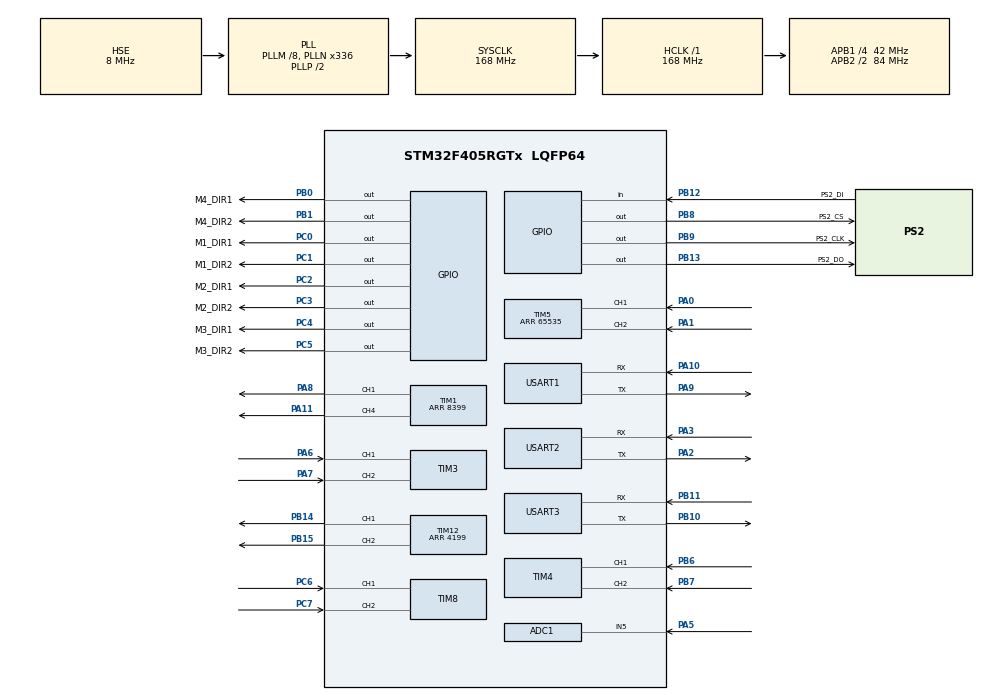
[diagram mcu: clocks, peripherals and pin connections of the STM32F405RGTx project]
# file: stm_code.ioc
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ADC1.Channel-0\#ChannelRegularConversion=ADC_CHANNEL_5
ADC1.NbrOfConversionFlag=1
ADC1.Rank-0\#ChannelRegularConversion=1
ADC1.SamplingTime-0\#ChannelRegularConversion=ADC_SAMPLETIME_144CYCLES
ADC1.master=1
Mcu.Family=STM32F4
Mcu.Name=STM32F405RGTx
Mcu.Package=LQFP64
NVIC.PriorityGroup=NVIC_PRIORITYGROUP_4
NVIC.USART1_IRQn=true\:3\:0\:true\:false\:true\:true\:true\:true
NVIC.USART2_IRQn=true\:2\:0\:true\:false\:true\:true\:true\:true
NVIC.USART3_IRQn=true\:3\:0\:true\:false\:true\:true\:true\:true
PA0-WKUP.Signal=S_TIM5_CH1
PA1.Signal=S_TIM5_CH2
PA10.Mode=Asynchronous
PA10.Signal=USART1_RX
PA11.Signal=S_TIM1_CH4
PA13.Mode=Serial_Wire
PA13.Signal=SYS_JTMS-SWDIO
PA14.Mode=Serial_Wire
PA14.Signal=SYS_JTCK-SWCLK
PA2.Mode=Asynchronous
PA2.Signal=USART2_TX
PA3.Mode=Asynchronous
PA3.Signal=USART2_RX
PA5.Signal=ADCx_IN5
PA6.Signal=S_TIM3_CH1
PA7.Signal=S_TIM3_CH2
PA8.Signal=S_TIM1_CH1
PA9.Mode=Asynchronous
PA9.Signal=USART1_TX
PB0.GPIO_Label=M4_DIR1
PB0.Signal=GPIO_Output
PB1.GPIO_Label=M4_DIR2
PB1.Signal=GPIO_Output
PB10.Mode=Asynchronous
PB10.Signal=USART3_TX
PB11.Mode=Asynchronous
PB11.Signal=USART3_RX
PB12.GPIO_Label=PS2_DI
PB12.GPIO_PuPd=GPIO_NOPULL
PB12.Signal=GPIO_Input
PB13.GPIO_Label=PS2_DO
PB13.Signal=GPIO_Output
PB14.Signal=S_TIM12_CH1
PB15.Signal=S_TIM12_CH2
PB6.Signal=S_TIM4_CH1
PB7.Signal=S_TIM4_CH2
PB8.GPIO_Label=PS2_CS 
PB8.Signal=GPIO_Output
PB9.GPIO_Label=PS2_CLK 
PB9.Signal=GPIO_Output
PC0.GPIO_Label=M1_DIR1
PC0.Signal=GPIO_Output
PC1.GPIO_Label=M1_DIR2
PC1.Signal=GPIO_Output
PC2.GPIO_Label=M2_DIR1
PC2.Signal=GPIO_Output
PC3.GPIO_Label=M2_DIR2
PC3.Signal=GPIO_Output
PC4.GPIO_Label=M3_DIR1
PC4.Signal=GPIO_Output
PC5.GPIO_Label=M3_DIR2
PC5.Signal=GPIO_Output
PC6.Signal=S_TIM8_CH1
PC7.Signal=S_TIM8_CH2
PH0-OSC_IN.Mode=HSE-External-Oscillator
PH0-OSC_IN.Signal=RCC_OSC_IN
PH1-OSC_OUT.Mode=HSE-External-Oscillator
PH1-OSC_OUT.Signal=RCC_OSC_OUT
ProjectManager.HeapSize=0x200
ProjectManager.StackSize=0x400
ProjectManager.TargetToolchain=CMake
RCC.48MHZClocksFreq_Value=84000000
RCC.AHBFreq_Value=168000000
RCC.APB1CLKDivider=RCC_HCLK_DIV4
RCC.APB1Freq_Value=42000000
RCC.APB1TimFreq_Value=84000000
RCC.APB2CLKDivider=RCC_HCLK_DIV2
RCC.APB2Freq_Value=84000000
RCC.APB2TimFreq_Value=168000000
RCC.CortexFreq_Value=168000000
RCC.HCLKFreq_Value=168000000
RCC.HSE_VALUE=8000000
RCC.HSI_VALUE=16000000
RCC.LSE_VALUE=32768
RCC.PLLM=8
RCC.PLLN=336
RCC.PLLSourceVirtual=RCC_PLLSOURCE_HSE
RCC.SYSCLKFreq_VALUE=168000000
RCC.SYSCLKSource=RCC_SYSCLKSOURCE_PLLCLK
RCC.VCOOutputFreq_Value=336000000
SH.ADCx_IN5.0=ADC1_IN5,IN5
SH.S_TIM12_CH1.0=TIM12_CH1,PWM Generation1 CH1
SH.S_TIM12_CH2.0=TIM12_CH2,PWM Generation2 CH2
SH.S_TIM1_CH1.0=TIM1_CH1,PWM Generation1 CH1
SH.S_TIM1_CH4.0=TIM1_CH4,PWM Generation4 CH4
SH.S_TIM3_CH1.0=TIM3_CH1,Encoder_Interface
SH.S_TIM3_CH2.0=TIM3_CH2,Encoder_Interface
SH.S_TIM4_CH1.0=TIM4_CH1,Encoder_Interface
SH.S_TIM4_CH2.0=TIM4_CH2,Encoder_Interface
SH.S_TIM5_CH1.0=TIM5_CH1,Encoder_Interface
SH.S_TIM5_CH2.0=TIM5_CH2,Encoder_Interface
SH.S_TIM8_CH1.0=TIM8_CH1,Encoder_Interface
SH.S_TIM8_CH2.0=TIM8_CH2,Encoder_Interface
TIM1.Channel-PWM\ Generation1\ CH1=TIM_CHANNEL_1
TIM1.Channel-PWM\ Generation4\ CH4=TIM_CHANNEL_4
TIM1.Period=8399
TIM12.Channel-PWM\ Generation1\ CH1=TIM_CHANNEL_1
TIM12.Channel-PWM\ Generation2\ CH2=TIM_CHANNEL_2
TIM12.Period=4199
TIM3.EncoderMode=TIM_ENCODERMODE_TI12
TIM4.EncoderMode=TIM_ENCODERMODE_TI12
TIM5.EncoderMode=TIM_ENCODERMODE_TI12
TIM5.Period=65535 
TIM8.EncoderMode=TIM_ENCODERMODE_TI12
USART1.VirtualMode=VM_ASYNC
USART2.VirtualMode=VM_ASYNC
USART3.VirtualMode=VM_ASYNC
board=custom

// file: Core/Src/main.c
/* USER CODE BEGIN Header */
/**
  ******************************************************************************
  * @file           : main.c
  * @brief          : Main program body
  ******************************************************************************
  * @attention
  *
  * Copyright (c) 2026 STMicroelectronics.
  * All rights reserved.
  *
  * This software is licensed under terms that can be found in the LICENSE file
  * in the root directory of this software component.
  * If no LICENSE file comes with this software, it is provided AS-IS.
  *
  ******************************************************************************
  */
/* USER CODE END Header */
#include "main.h"
#include "adc.h"
#include "tim.h"
#include "usart.h"
#include "gpio.h"

/* USER CODE BEGIN Includes */
#include <stdio.h>
#include "motor.h"
#include "encoder.h"
#include "wit_gyro/wit_gyro.h"
#include "ps2.h"
#include "odometry.h"
#include <stdlib.h>
#include <math.h>
/* USER CODE END Includes */

void SystemClock_Config(void);

/* USER CODE BEGIN 0 */
extern UART_HandleTypeDef huart1;

/* printf 重定向 USART1 */
int _write(int fd, char *ptr, int len)
{
    HAL_UART_Transmit(&huart1, (uint8_t *)ptr, len, 100);
    return len;
}
/* USER CODE END 0 */

int main(void)
{

  /* MCU Configuration--------------------------------------------------------*/

  /* Reset of all peripherals, Initializes the Flash interface and the Systick. */
  HAL_Init();

  /* Configure the system clock */
  SystemClock_Config();

  /* Initialize all configured peripherals */
  MX_GPIO_Init();
  MX_USART1_UART_Init();
  MX_USART2_UART_Init();
  MX_TIM1_Init();
  MX_TIM3_Init();
  MX_TIM4_Init();
  MX_TIM5_Init();
  MX_TIM8_Init();
  MX_TIM12_Init();
  MX_USART3_UART_Init();
  MX_ADC1_Init();
  /* USER CODE BEGIN 2 */
  Motor_Init();
  Encoder_Init();
  GYR_Init();
  PS2_Init();
  Odometry_Init();
  HAL_Delay(500); /* 等待陀螺仪启动 */

  printf("\r\n====================================\r\n");
  printf("STM32F405 Chassis Control V1.0\r\n");
  printf("SYSCLK: 168 MHz, HSE: 8 MHz\r\n");
  printf("PS2 Ready | 4x Motor + Encoder + Gyro\r\n");
  int startup_vbat = (int)(ADC_ReadBatteryVoltage() * 10);
  printf("Battery: %d.%dV\r\n", startup_vbat / 10, startup_vbat % 10);
  printf("====================================\r\n");
  printf("[PS2遥控] 左杆↑↓=前进后退 | 左杆←→=旋转 | 右杆←→=平移\r\n\r\n");
  /* USER CODE END 2 */

  /* Infinite loop */
  while (1)
  {

    /* USER CODE BEGIN 3 */
    PS2_ReadData();
    uint8_t lx_raw = PS2_AnalogData(PSS_LX);
    uint8_t ly_raw = PS2_AnalogData(PSS_LY);
    uint8_t rx_raw = PS2_AnalogData(PSS_RX);
    int forward = 0, rotate = 0, strafe = 0;

    static int cur[4] = {0};
    if (!PS2_IsConnected()) {
        Motor_StopAll();
        cur[0]=cur[1]=cur[2]=cur[3]=0;
    } else {
        forward = 128 - (int)ly_raw;
        rotate  = (int)lx_raw - 128;
        strafe  = (int)rx_raw - 128;  /* 右杆→推 = +strafe */
        if (abs(forward) < 15) forward = 0;
        if (abs(rotate)  < 15) rotate  = 0;
        if (abs(strafe)  < 15) strafe  = 0;

        /* M1↘ M4↙
           M2↙ M3↘: [-F-S-R, +F-S+R, +F+S-R, -F+S+R] */
        int m1 = -forward - strafe - rotate;
        int m2 =  forward - strafe + rotate;
        int m3 =  forward + strafe - rotate;
        int m4 = -forward + strafe + rotate;

        int max_abs = abs(m1);
        if (abs(m2) > max_abs) max_abs = abs(m2);
        if (abs(m3) > max_abs) max_abs = abs(m3);
        if (abs(m4) > max_abs) max_abs = abs(m4);
        if (max_abs < 128) max_abs = 128;
        int t[4];
        t[0] = m1 * 100 / max_abs;
        t[1] = m2 * 100 / max_abs;
        t[2] = m3 * 100 / max_abs;
        t[3] = m4 * 100 / max_abs;

        int ramp = 10;
        for (int i = 0; i < 4; i++) {
            if (cur[i] < t[i]) cur[i] = (cur[i]+ramp < t[i]) ? cur[i]+ramp : t[i];
            else               cur[i] = (cur[i]-ramp > t[i]) ? cur[i]-ramp : t[i];
        }

        Motor_SetSpeed(MOTOR_1, cur[0]);
        Motor_SetSpeed(MOTOR_2, cur[1]);
        Motor_SetSpeed(MOTOR_3, cur[2]);
        Motor_SetSpeed(MOTOR_4, cur[3]);
    }

    /* ---- 里程计+IMU (每20ms) ---- */
    Encoder_Update(); GYR_Updata();
    static uint32_t last_odom_tick = 0;
    uint32_t now_odom = HAL_GetTick();
    if (last_odom_tick == 0) last_odom_tick = now_odom;
    float odom_dt = (float)(now_odom - last_odom_tick) / 1000.0f;
    last_odom_tick = now_odom;
    if (odom_dt <= 0.0f || odom_dt > 0.5f) odom_dt = 0.02f;
    static float gyro_bias = 0; static uint32_t bias_start = 0;
    static int bias_cnt = 0; static float bias_sum = 0;
    float gyro_raw = fGyro[2] * 0.0174533f;
    if (bias_start == 0) bias_start = HAL_GetTick();
    if (HAL_GetTick() - bias_start < 3000) { bias_sum += gyro_raw; bias_cnt++; }
    else if (bias_cnt > 0) { gyro_bias = bias_sum / bias_cnt; bias_cnt = 0; }
    Odometry_SetGyroZ(gyro_raw - gyro_bias);
    Odometry_SetImuYaw(fAngle[2] * 0.0174533f);
    Odometry_SetAccel(fAcc[0], fAcc[1]);
    Odometry_Update(odom_dt);

    /* ---- 遥测 (5Hz) ---- */
    static uint32_t last_print = 0;
    if (HAL_GetTick() - last_print >= 200) {
        int vb = (int)(ADC_ReadBatteryVoltage() * 100);
        int ox = (int)(Odometry_GetX() * 100);
        int oy = (int)(Odometry_GetY() * 100);
        int ot = (int)(Odometry_GetTheta() * 57.3f);
        int slip = Odometry_IsSlipping();
        int yaw = (int)fAngle[2];

        /* 人类可读 */
        printf(" Vbat:%d.%02dV | Odo:(%d,%d) %ddeg | Slip:%d | F:%d R:%d S:%d\r\n",
               vb/100, vb%100, ox, oy, ot, slip, forward, rotate, strafe);

        /* VOFA+ JustFloat (\n 结尾, 逗号分隔) */
        printf("%d,%d,%d,%d,%d,%d,%d,%d,%d\n",
               vb, ox, oy, ot, slip, yaw, forward, rotate, strafe);

        last_print = HAL_GetTick();
    }
    HAL_Delay(20);
  }
  /* USER CODE END 3 */
}

void SystemClock_Config(void)
{
  RCC_OscInitTypeDef RCC_OscInitStruct = {0};
  RCC_ClkInitTypeDef RCC_ClkInitStruct = {0};

  /** Configure the main internal regulator output voltage
  */
  __HAL_RCC_PWR_CLK_ENABLE();
  __HAL_PWR_VOLTAGESCALING_CONFIG(PWR_REGULATOR_VOLTAGE_SCALE1);

  /** Initializes the RCC Oscillators according to the specified parameters
  * in the RCC_OscInitTypeDef structure.
  */
  RCC_OscInitStruct.OscillatorType = RCC_OSCILLATORTYPE_HSE;
  RCC_OscInitStruct.HSEState = RCC_HSE_ON;
  RCC_OscInitStruct.PLL.PLLState = RCC_PLL_ON;
  RCC_OscInitStruct.PLL.PLLSource = RCC_PLLSOURCE_HSE;
  RCC_OscInitStruct.PLL.PLLM = 8;
  RCC_OscInitStruct.PLL.PLLN = 336;
  RCC_OscInitStruct.PLL.PLLP = RCC_PLLP_DIV2;
  RCC_OscInitStruct.PLL.PLLQ = 4;
  if (HAL_RCC_OscConfig(&RCC_OscInitStruct) != HAL_OK)
  {
    Error_Handler();
  }

  /** Initializes the CPU, AHB and APB buses clocks
  */
  RCC_ClkInitStruct.ClockType = RCC_CLOCKTYPE_HCLK|RCC_CLOCKTYPE_SYSCLK
                              |RCC_CLOCKTYPE_PCLK1|RCC_CLOCKTYPE_PCLK2;
  RCC_ClkInitStruct.SYSCLKSource = RCC_SYSCLKSOURCE_PLLCLK;
  RCC_ClkInitStruct.AHBCLKDivider = RCC_SYSCLK_DIV1;
  RCC_ClkInitStruct.APB1CLKDivider = RCC_HCLK_DIV4;
  RCC_ClkInitStruct.APB2CLKDivider = RCC_HCLK_DIV2;

  if (HAL_RCC_ClockConfig(&RCC_ClkInitStruct, FLASH_LATENCY_5) != HAL_OK)
  {
    Error_Handler();
  }
}

void Error_Handler(void)
{
  __disable_irq();
  while (1)
  {
  }
}
